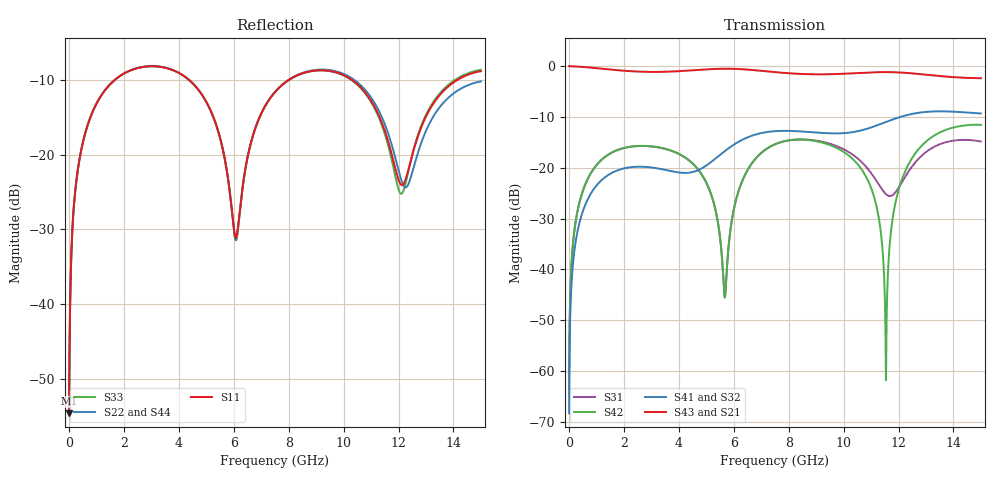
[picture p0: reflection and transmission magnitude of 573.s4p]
! Created with skrf 1.8.0 (http://scikit-rf.org).
# GHz S RI R 50.0
!freq ReS11 ImS11 ReS12 ImS12 ReS13 ImS13
! ReS14 ImS14
! ReS21 ImS21 ReS22 ImS22 ReS23 ImS23
! ReS24 ImS24
! ReS31 ImS31 ReS32 ImS32 ReS33 ImS33
! ReS34 ImS34
! ReS41 ImS41 ReS42 ImS42 ReS43 ImS43
! ReS44 ImS44
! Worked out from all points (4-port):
!   2499 points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, 5 MHz to 15 GHz, reference 50 ohm
!   strongest paths, dB at 5 MHz, 3.476 GHz, 7.19 GHz, 11.1 GHz, 15 GHz:
!     S43: 0.0, -1.1, -1.0, -1.2, -2.4
!     S21: 0.0, -1.1, -1.0, -1.2, -2.4
!     S41: -68.3, -20.4, -13.0, -11.9, -9.3
!     S32: -68.3, -20.5, -13.0, -11.9, -9.4
!     S42: -64.2, -16.2, -16.3, -25.5, -11.5
!     S31: -64.2, -16.2, -16.3, -21.8, -14.8
!   lowest |S11| = -54.7 dB at 5 MHz (marker M1), VSWR 1.00, Z = 50.1 + j0.112 ohm
!   |S11| at or under -10 dB: start of sweep to 1.671 GHz; 4.368 GHz to 8.01 GHz (3.642 GHz wide, 58.8 % of centre); 10.3 GHz to 14.15 GHz (3.845 GHz wide, 31.5 % of centre)
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0.005  0.00148 0.00112  0.9985 -0.00287  7.44e-05 0.000609  -7.22e-05 -0.000378
       0.9985 -0.00287  0.00148 0.00112  -7.22e-05 -0.000378  7.44e-05 0.000609
       7.44e-05 0.000609  -7.22e-05 -0.000378  0.00148 0.00112  0.9985 -0.00287
       -7.22e-05 -0.000378  7.44e-05 0.000609  0.9985 -0.00287  0.00148 0.00112
0.3126303  0.0201 0.0742  0.9725 -0.1795  0.00939 0.0365  -0.00781 -0.0225
           0.9725 -0.1795  0.0201 0.0742  -0.0078 -0.0225  0.00942 0.0365
           0.00939 0.0365  -0.0078 -0.0225  0.0202 0.0742  0.9725 -0.1795
           -0.00781 -0.0225  0.00942 0.0365  0.9725 -0.1795  0.0201 0.0742
1.569404  0.2408 0.1861  0.6091 -0.6917  0.1215 0.0724  -0.0879 -0.0159
          0.6091 -0.6917  0.2407 0.1862  -0.0877 -0.0161  0.1219 0.0719
          0.1215 0.0724  -0.0877 -0.0161  0.2409 0.186  0.6091 -0.6917
          -0.0879 -0.0159  0.1219 0.0719  0.6091 -0.6917  0.2406 0.1862
6.165069  0.0293 0.0171  -0.9359 -0.0217  0.0106 0.0568  0.0038 0.1794
          -0.9359 -0.0217  0.0284 0.0173  8.28e-05 0.1795  0.011 0.0567
          0.0106 0.0568  8.28e-05 0.1795  0.0284 0.0167  -0.9359 -0.0221
          0.0038 0.1794  0.011 0.0567  -0.9359 -0.0221  0.0293 0.0166
10.17924  0.3006 -0.1288  0.2888 0.7932  0.0773 -0.1205  0.1835 -0.1236
          0.2888 0.7932  0.3069 -0.1324  0.1865 -0.1149  0.0886 -0.0984
          0.0773 -0.1205  0.1865 -0.1149  0.2967 -0.1316  0.2895 0.7943
          0.1835 -0.1236  0.0886 -0.0984  0.2895 0.7943  0.3038 -0.1273
11.54231  0.0938 -0.0997  0.7597 0.4287  -0.0499 -0.0234  0.1257 -0.2526
          0.7597 0.4287  0.0981 -0.1167  0.1369 -0.2465  -0.000802 -0.000146
          -0.0499 -0.0234  0.1369 -0.2465  0.0855 -0.0978  0.7611 0.4279
          0.1257 -0.2526  -0.000802 -0.000146  0.7611 0.4279  0.1 -0.1095
15  0.3606 0.0251  0.2741 -0.7109  0.1802 -0.0207  -0.3404 -0.0332
    0.2741 -0.7109  0.3061 0.0387  -0.3342 -0.0497  0.2309 -0.1294
    0.1802 -0.0207  -0.3342 -0.0497  0.3685 0.0264  0.274 -0.709
    -0.3404 -0.0332  0.2309 -0.1294  0.274 -0.709  0.306 0.0438
